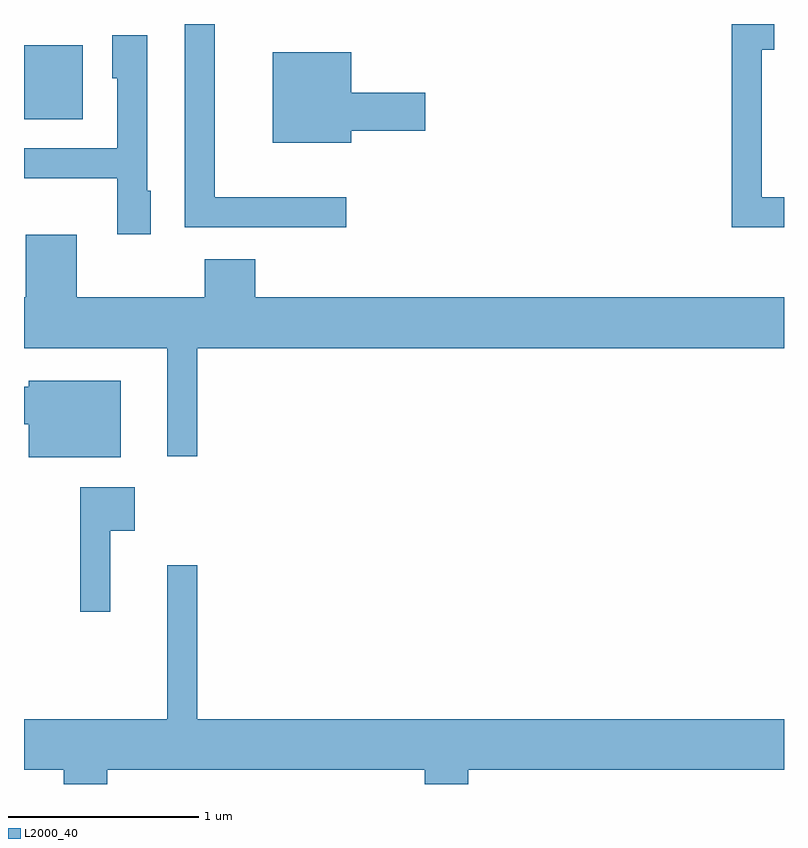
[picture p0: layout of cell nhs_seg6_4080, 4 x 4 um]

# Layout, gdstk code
import gdstk
lib = gdstk.Library(unit=1e-6, precision=1e-09)
def R(c, l, rs):  # rectangles x0, y0, x1, y1
    for r in rs: c.add(gdstk.rectangle(r[:2], r[2:], *l))
def P(c, l, *ps):  # polygons
    for p in ps: c.add(gdstk.Polygon(p, *l))
L2000_40 = (2000, 40)

nhs_seg6_4080 = lib.new_cell('nhs_seg6_4080')
R(nhs_seg6_4080, L2000_40, [(309.611,1575.661,309.919,1576.049)])
P(nhs_seg6_4080, L2000_40, [(313.611,1575.249),(313.494,1575.249),(313.494,1576.026),(313.559,1576.026),(313.559,1576.162),(313.336,1576.162),(313.336,1575.091),(313.611,1575.091)],
  [(311.308,1575.249),(310.614,1575.249),(310.614,1576.162),(310.456,1576.162),(310.456,1575.091),(311.308,1575.091)],
  [(310.279,1575.284),(310.259,1575.284),(310.259,1576.104),(310.076,1576.104),(310.076,1575.876),(310.101,1575.876),(310.101,1575.509),(309.611,1575.509),(309.611,1575.351),(310.101,1575.351),(310.101,1575.056),(310.279,1575.056)],
  [(311.334,1575.601),(311.724,1575.601),(311.724,1575.799),(311.334,1575.799),(311.334,1576.014),(310.921,1576.014),(310.921,1575.536),(311.334,1575.536)],
  [(310.524,1574.456),(313.611,1574.456),(313.611,1574.724),(310.829,1574.724),(310.829,1574.924),(310.561,1574.924),(310.561,1574.724),(309.889,1574.724),(309.889,1575.054),(309.621,1575.054),(309.621,1574.724),(309.611,1574.724),(309.611,1574.456),(310.366,1574.456),(310.366,1573.888),(310.524,1573.888)],
  [(310.119,1574.284),(309.636,1574.284),(309.636,1574.254),(309.611,1574.254),(309.611,1574.056),(309.636,1574.056),(309.636,1573.881),(310.119,1573.881)],
  [(310.064,1573.496),(310.194,1573.496),(310.194,1573.724),(309.906,1573.724),(309.906,1573.068),(310.064,1573.068)],
  [(309.611,1572.236),(309.821,1572.236),(309.821,1572.162),(310.049,1572.162),(310.049,1572.236),(311.721,1572.236),(311.721,1572.162),(311.949,1572.162),(311.949,1572.236),(313.611,1572.236),(313.611,1572.504),(310.524,1572.504),(310.524,1573.313),(310.366,1573.313),(310.366,1572.504),(309.611,1572.504)])

lib.write_gds('nhs_seg6_4080.gds')
